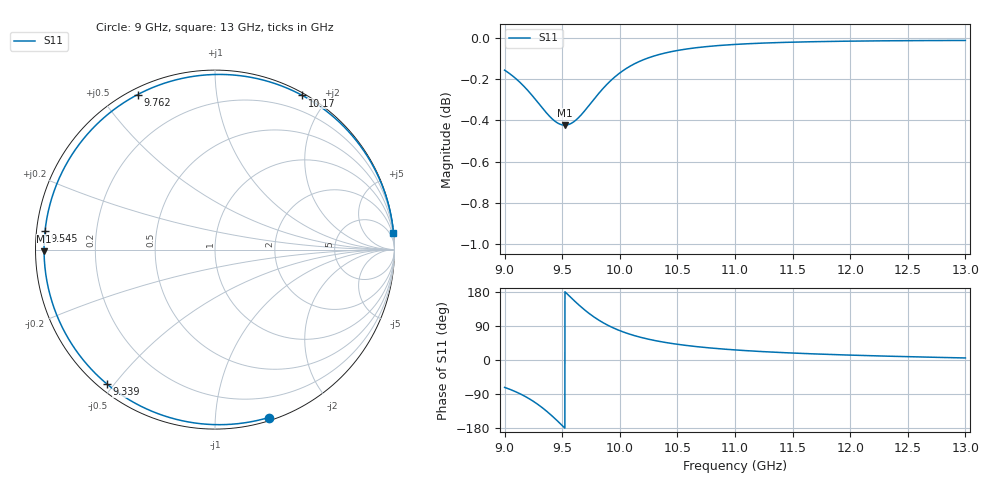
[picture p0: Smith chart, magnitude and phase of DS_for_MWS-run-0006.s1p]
! TOUCHSTONE file generated by CST DESIGN STUDIO
! Date and time: Tue Feb  4 13:56:52 2025
! Project name: C:\Work\MatlabApps\UnitCellOptimizationMatlab\CST\unitcell.cst
! Tree item: Tasks\Sweep1\SPara1\S-Parameters
! Header version: 2024
! Port assignment regex: !\s*Touchstone port\s*([0-9]+)\s*=\s*(CST MWS port|CST DES external port|CST DES block port)\s*(.+)\s* \(\"(.*)\"\)(\s*mode\s*([0-9]+))?.*
! Touchstone port assignment:
! Touchstone port 1 = CST DES external port 1 ("")
# GHz S MA R 50
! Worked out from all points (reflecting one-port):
!   4001 points, 9 GHz to 13 GHz, reference 50 ohm
!   lowest |S11| = -0.4 dB at 9.522 GHz (marker M1), VSWR 41.10, Z = 1.22 - j0.256 ohm
!   phase of S11 starts at -72 deg and turns -282 deg over the sweep
!   S11 on the Smith chart (normalised r, x): 9 GHz: 0.03, -1.37; 9.339 GHz: 0.02, -0.48; 9.545 GHz: 0.02, +0.05; 9.762 GHz: 0.02, +0.62; 10.17 GHz: 0.03, +1.72; 13 GHz: 0, +21
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9  0.9823 -72.3
9.093  0.9779 -83.4
9.198  0.9714 -99.5
9.272  0.966 -113.6
9.339  0.9608 -128.7
9.383  0.9577 -139.9
9.428  0.955 -152.1
9.465  0.9535 -162.6
9.5  0.9526 -172.9
9.522  0.9525 -179.4
9.545  0.9527 173.8
9.599  0.9542 158.0
9.659  0.9576 141.4
9.71  0.9613 128.4
9.762  0.9653 116.5
9.812  0.9692 106.3
9.866  0.973 96.6
10  0.9807 77.4
10.083  0.9842 68.4
10.173  0.9871 60.5
10.322  0.9906 50.3
10.5  0.9931 41.5
10.722  0.9951 33.6
11  0.9965 26.6
11.5  0.9978 18.4
12  0.9983 12.9
12.5  0.9986 8.8
13  0.9987 5.4
